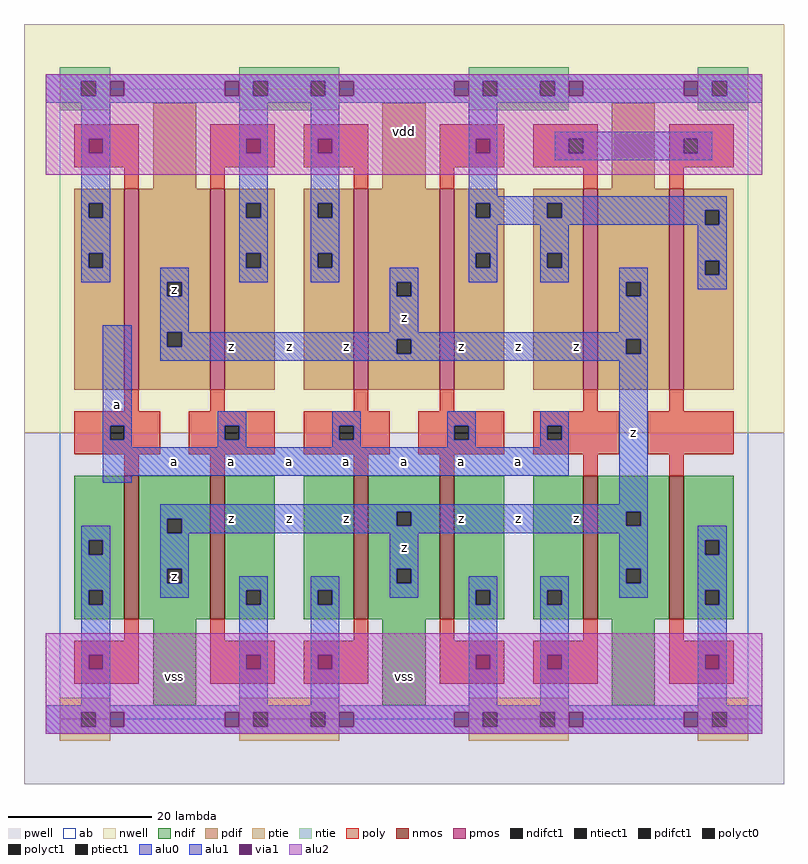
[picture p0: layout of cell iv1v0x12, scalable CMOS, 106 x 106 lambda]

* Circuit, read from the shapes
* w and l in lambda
.subckt iv1v0x12 a vdd vss z
M1 z a vss vss nfet w=20 l=2 m=6
M2 z a vdd vdd pfet w=28 l=2 m=6
.ends

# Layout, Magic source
magic
tech scmos
<< ab >>
rect 0 0 96 88
<< nwell >>
rect -5 40 101 97
<< pwell >>
rect -5 -9 101 40
<< poly >>
rect 2 77 11 83
rect 9 74 11 77
rect 21 77 30 83
rect 34 77 43 83
rect 21 74 23 77
rect 41 74 43 77
rect 53 77 62 83
rect 66 81 75 83
rect 66 79 71 81
rect 73 79 75 81
rect 66 77 75 79
rect 53 74 55 77
rect 73 74 75 77
rect 85 81 94 83
rect 85 79 87 81
rect 89 79 94 81
rect 85 77 94 79
rect 85 74 87 77
rect 9 43 11 46
rect 21 43 23 46
rect 41 43 43 46
rect 53 43 55 46
rect 73 43 75 46
rect 85 43 87 46
rect 2 41 14 43
rect 2 39 7 41
rect 9 39 14 41
rect 2 37 14 39
rect 18 41 30 43
rect 18 39 23 41
rect 25 39 30 41
rect 18 37 30 39
rect 34 41 46 43
rect 34 39 39 41
rect 41 39 46 41
rect 34 37 46 39
rect 50 41 62 43
rect 50 39 55 41
rect 57 39 62 41
rect 50 37 62 39
rect 66 41 78 43
rect 66 39 68 41
rect 70 39 78 41
rect 66 37 78 39
rect 82 37 94 43
rect 9 34 11 37
rect 21 34 23 37
rect 41 34 43 37
rect 53 34 55 37
rect 73 34 75 37
rect 85 34 87 37
rect 9 11 11 14
rect 2 5 11 11
rect 21 11 23 14
rect 41 11 43 14
rect 21 5 30 11
rect 34 5 43 11
rect 53 11 55 14
rect 73 11 75 14
rect 53 5 62 11
rect 66 5 75 11
rect 85 11 87 14
rect 85 5 94 11
<< ndif >>
rect 2 25 9 34
rect 2 23 4 25
rect 6 23 9 25
rect 2 18 9 23
rect 2 16 4 18
rect 6 16 9 18
rect 2 14 9 16
rect 11 28 21 34
rect 11 26 15 28
rect 17 26 21 28
rect 11 21 21 26
rect 11 19 15 21
rect 17 19 21 21
rect 11 14 21 19
rect 23 18 30 34
rect 23 16 26 18
rect 28 16 30 18
rect 23 14 30 16
rect 34 18 41 34
rect 34 16 36 18
rect 38 16 41 18
rect 34 14 41 16
rect 43 29 53 34
rect 43 27 47 29
rect 49 27 53 29
rect 43 21 53 27
rect 43 19 47 21
rect 49 19 53 21
rect 43 14 53 19
rect 55 18 62 34
rect 55 16 58 18
rect 60 16 62 18
rect 55 14 62 16
rect 66 18 73 34
rect 66 16 68 18
rect 70 16 73 18
rect 66 14 73 16
rect 75 29 85 34
rect 75 27 79 29
rect 81 27 85 29
rect 75 21 85 27
rect 75 19 79 21
rect 81 19 85 21
rect 75 14 85 19
rect 87 25 94 34
rect 87 23 90 25
rect 92 23 94 25
rect 87 18 94 23
rect 87 16 90 18
rect 92 16 94 18
rect 87 14 94 16
rect 13 2 19 14
rect 45 2 51 14
rect 77 2 83 14
<< pdif >>
rect 13 74 19 86
rect 45 74 51 86
rect 77 74 83 86
rect 2 72 9 74
rect 2 70 4 72
rect 6 70 9 72
rect 2 65 9 70
rect 2 63 4 65
rect 6 63 9 65
rect 2 46 9 63
rect 11 61 21 74
rect 11 59 15 61
rect 17 59 21 61
rect 11 54 21 59
rect 11 52 15 54
rect 17 52 21 54
rect 11 46 21 52
rect 23 72 30 74
rect 23 70 26 72
rect 28 70 30 72
rect 23 65 30 70
rect 23 63 26 65
rect 28 63 30 65
rect 23 46 30 63
rect 34 72 41 74
rect 34 70 36 72
rect 38 70 41 72
rect 34 65 41 70
rect 34 63 36 65
rect 38 63 41 65
rect 34 46 41 63
rect 43 61 53 74
rect 43 59 47 61
rect 49 59 53 61
rect 43 53 53 59
rect 43 51 47 53
rect 49 51 53 53
rect 43 46 53 51
rect 55 72 62 74
rect 55 70 58 72
rect 60 70 62 72
rect 55 65 62 70
rect 55 63 58 65
rect 60 63 62 65
rect 55 46 62 63
rect 66 72 73 74
rect 66 70 68 72
rect 70 70 73 72
rect 66 65 73 70
rect 66 63 68 65
rect 70 63 73 65
rect 66 46 73 63
rect 75 61 85 74
rect 75 59 79 61
rect 81 59 85 61
rect 75 53 85 59
rect 75 51 79 53
rect 81 51 85 53
rect 75 46 85 51
rect 87 71 94 74
rect 87 69 90 71
rect 92 69 94 71
rect 87 64 94 69
rect 87 62 90 64
rect 92 62 94 64
rect 87 46 94 62
<< alu1 >>
rect -2 89 98 90
rect -2 87 3 89
rect 5 87 7 89
rect 9 87 23 89
rect 25 87 27 89
rect 29 87 35 89
rect 37 87 39 89
rect 41 87 55 89
rect 57 87 59 89
rect 61 87 67 89
rect 69 87 71 89
rect 73 87 87 89
rect 89 87 91 89
rect 93 87 98 89
rect -2 86 98 87
rect 3 81 7 86
rect 3 79 4 81
rect 6 79 7 81
rect 3 72 7 79
rect 3 70 4 72
rect 6 70 7 72
rect 3 65 7 70
rect 3 63 4 65
rect 6 63 7 65
rect 25 81 29 86
rect 25 79 26 81
rect 28 79 29 81
rect 25 72 29 79
rect 25 70 26 72
rect 28 70 29 72
rect 25 65 29 70
rect 25 63 26 65
rect 28 63 29 65
rect 3 61 7 63
rect 14 61 18 63
rect 25 61 29 63
rect 35 81 39 86
rect 35 79 36 81
rect 38 79 39 81
rect 35 72 39 79
rect 35 70 36 72
rect 38 70 39 72
rect 35 65 39 70
rect 35 63 36 65
rect 38 63 39 65
rect 57 81 61 86
rect 57 79 58 81
rect 60 79 61 81
rect 57 73 61 79
rect 57 72 93 73
rect 57 70 58 72
rect 60 70 68 72
rect 70 71 93 72
rect 70 70 90 71
rect 57 69 90 70
rect 92 69 93 71
rect 57 65 61 69
rect 57 63 58 65
rect 60 63 61 65
rect 35 61 39 63
rect 46 61 50 63
rect 57 61 61 63
rect 67 65 71 69
rect 67 63 68 65
rect 70 63 71 65
rect 89 64 93 69
rect 67 61 71 63
rect 78 61 82 63
rect 14 59 15 61
rect 17 59 18 61
rect 6 41 10 55
rect 14 54 18 59
rect 46 59 47 61
rect 49 59 50 61
rect 46 54 50 59
rect 78 59 79 61
rect 81 59 82 61
rect 89 62 90 64
rect 92 62 93 64
rect 89 60 93 62
rect 78 54 82 59
rect 14 52 15 54
rect 17 53 82 54
rect 17 52 47 53
rect 14 51 47 52
rect 49 51 79 53
rect 81 51 82 53
rect 14 50 82 51
rect 6 39 7 41
rect 9 39 10 41
rect 6 38 10 39
rect 22 41 26 43
rect 22 39 23 41
rect 25 39 26 41
rect 22 38 26 39
rect 38 41 42 43
rect 38 39 39 41
rect 41 39 42 41
rect 38 38 42 39
rect 54 41 58 43
rect 54 39 55 41
rect 57 39 58 41
rect 54 38 58 39
rect 67 41 71 43
rect 67 39 68 41
rect 70 39 71 41
rect 67 38 71 39
rect 6 34 71 38
rect 6 33 10 34
rect 78 30 82 50
rect 14 29 82 30
rect 14 28 47 29
rect 3 25 7 27
rect 3 23 4 25
rect 6 23 7 25
rect 3 18 7 23
rect 3 16 4 18
rect 6 16 7 18
rect 14 26 15 28
rect 17 27 47 28
rect 49 27 79 29
rect 81 27 82 29
rect 17 26 82 27
rect 14 21 18 26
rect 14 19 15 21
rect 17 19 18 21
rect 46 21 50 26
rect 14 17 18 19
rect 25 18 29 20
rect 3 9 7 16
rect 3 7 4 9
rect 6 7 7 9
rect 3 2 7 7
rect 25 16 26 18
rect 28 16 29 18
rect 25 9 29 16
rect 25 7 26 9
rect 28 7 29 9
rect 25 2 29 7
rect 35 18 39 20
rect 35 16 36 18
rect 38 16 39 18
rect 46 19 47 21
rect 49 19 50 21
rect 78 21 82 26
rect 46 17 50 19
rect 57 18 61 20
rect 35 9 39 16
rect 35 7 36 9
rect 38 7 39 9
rect 35 2 39 7
rect 57 16 58 18
rect 60 16 61 18
rect 57 9 61 16
rect 57 7 58 9
rect 60 7 61 9
rect 57 2 61 7
rect 67 18 71 20
rect 67 16 68 18
rect 70 16 71 18
rect 78 19 79 21
rect 81 19 82 21
rect 78 17 82 19
rect 89 25 93 27
rect 89 23 90 25
rect 92 23 93 25
rect 89 18 93 23
rect 67 9 71 16
rect 67 7 68 9
rect 70 7 71 9
rect 67 2 71 7
rect 89 16 90 18
rect 92 16 93 18
rect 89 9 93 16
rect 89 7 90 9
rect 92 7 93 9
rect 89 2 93 7
rect -2 1 98 2
rect -2 -1 3 1
rect 5 -1 7 1
rect 9 -1 23 1
rect 25 -1 27 1
rect 29 -1 35 1
rect 37 -1 39 1
rect 41 -1 55 1
rect 57 -1 59 1
rect 61 -1 67 1
rect 69 -1 71 1
rect 73 -1 87 1
rect 89 -1 91 1
rect 93 -1 98 1
rect -2 -2 98 -1
<< alu2 >>
rect -2 89 98 90
rect -2 87 7 89
rect 9 87 23 89
rect 25 87 39 89
rect 41 87 55 89
rect 57 87 71 89
rect 73 87 87 89
rect 89 87 98 89
rect -2 81 98 87
rect -2 79 4 81
rect 6 79 26 81
rect 28 79 36 81
rect 38 79 58 81
rect 60 79 98 81
rect -2 76 98 79
rect -2 9 98 12
rect -2 7 4 9
rect 6 7 26 9
rect 28 7 36 9
rect 38 7 58 9
rect 60 7 68 9
rect 70 7 90 9
rect 92 7 98 9
rect -2 1 98 7
rect -2 -1 7 1
rect 9 -1 23 1
rect 25 -1 39 1
rect 41 -1 55 1
rect 57 -1 71 1
rect 73 -1 87 1
rect 89 -1 98 1
rect -2 -2 98 -1
<< ptie >>
rect 0 1 7 3
rect 0 -1 3 1
rect 5 -1 7 1
rect 0 -3 7 -1
rect 25 1 39 3
rect 25 -1 27 1
rect 29 -1 35 1
rect 37 -1 39 1
rect 25 -3 39 -1
rect 57 1 71 3
rect 57 -1 59 1
rect 61 -1 67 1
rect 69 -1 71 1
rect 57 -3 71 -1
rect 89 1 96 3
rect 89 -1 91 1
rect 93 -1 96 1
rect 89 -3 96 -1
<< ntie >>
rect 0 89 7 91
rect 0 87 3 89
rect 5 87 7 89
rect 0 85 7 87
rect 25 89 39 91
rect 25 87 27 89
rect 29 87 35 89
rect 37 87 39 89
rect 25 85 39 87
rect 57 89 71 91
rect 57 87 59 89
rect 61 87 67 89
rect 69 87 71 89
rect 57 85 71 87
rect 89 89 96 91
rect 89 87 91 89
rect 93 87 96 89
rect 89 85 96 87
<< nmos >>
rect 9 14 11 34
rect 21 14 23 34
rect 41 14 43 34
rect 53 14 55 34
rect 73 14 75 34
rect 85 14 87 34
<< pmos >>
rect 9 46 11 74
rect 21 46 23 74
rect 41 46 43 74
rect 53 46 55 74
rect 73 46 75 74
rect 85 46 87 74
<< polyct0 >>
rect 71 79 73 81
rect 87 79 89 81
<< polyct1 >>
rect 7 39 9 41
rect 23 39 25 41
rect 39 39 41 41
rect 55 39 57 41
rect 68 39 70 41
<< ndifct1 >>
rect 4 23 6 25
rect 4 16 6 18
rect 15 26 17 28
rect 15 19 17 21
rect 26 16 28 18
rect 36 16 38 18
rect 47 27 49 29
rect 47 19 49 21
rect 58 16 60 18
rect 68 16 70 18
rect 79 27 81 29
rect 79 19 81 21
rect 90 23 92 25
rect 90 16 92 18
<< ntiect1 >>
rect 3 87 5 89
rect 27 87 29 89
rect 35 87 37 89
rect 59 87 61 89
rect 67 87 69 89
rect 91 87 93 89
<< ptiect1 >>
rect 3 -1 5 1
rect 27 -1 29 1
rect 35 -1 37 1
rect 59 -1 61 1
rect 67 -1 69 1
rect 91 -1 93 1
<< pdifct1 >>
rect 4 70 6 72
rect 4 63 6 65
rect 15 59 17 61
rect 15 52 17 54
rect 26 70 28 72
rect 26 63 28 65
rect 36 70 38 72
rect 36 63 38 65
rect 47 59 49 61
rect 47 51 49 53
rect 58 70 60 72
rect 58 63 60 65
rect 68 70 70 72
rect 68 63 70 65
rect 79 59 81 61
rect 79 51 81 53
rect 90 69 92 71
rect 90 62 92 64
<< alu0 >>
rect 69 81 91 82
rect 69 79 71 81
rect 73 79 87 81
rect 89 79 91 81
rect 69 78 91 79
<< via1 >>
rect 7 87 9 89
rect 23 87 25 89
rect 39 87 41 89
rect 55 87 57 89
rect 71 87 73 89
rect 87 87 89 89
rect 4 79 6 81
rect 26 79 28 81
rect 36 79 38 81
rect 58 79 60 81
rect 4 7 6 9
rect 26 7 28 9
rect 36 7 38 9
rect 58 7 60 9
rect 68 7 70 9
rect 90 7 92 9
rect 7 -1 9 1
rect 23 -1 25 1
rect 39 -1 41 1
rect 55 -1 57 1
rect 71 -1 73 1
rect 87 -1 89 1
<< labels >>
rlabel alu1 8 44 8 44 6 a
rlabel ndifct1 16 20 16 20 6 z
rlabel alu1 24 28 24 28 6 z
rlabel alu1 32 28 32 28 6 z
rlabel alu1 24 36 24 36 6 a
rlabel alu1 32 36 32 36 6 a
rlabel alu1 16 36 16 36 6 a
rlabel alu1 24 52 24 52 6 z
rlabel alu1 32 52 32 52 6 z
rlabel pdifct1 16 60 16 60 6 z
rlabel alu1 40 28 40 28 6 z
rlabel alu1 56 28 56 28 6 z
rlabel alu1 48 24 48 24 6 z
rlabel alu1 48 36 48 36 6 a
rlabel alu1 56 36 56 36 6 a
rlabel alu1 40 36 40 36 6 a
rlabel alu1 56 52 56 52 6 z
rlabel alu1 48 56 48 56 6 z
rlabel alu1 40 52 40 52 6 z
rlabel alu1 64 28 64 28 6 z
rlabel alu1 72 28 72 28 6 z
rlabel alu1 64 36 64 36 6 a
rlabel alu1 64 52 64 52 6 z
rlabel alu1 72 52 72 52 6 z
rlabel alu1 80 40 80 40 6 z
rlabel alu2 16 6 16 6 6 vss
rlabel alu2 48 6 48 6 6 vss
rlabel alu2 48 82 48 82 6 vdd
<< end >>
